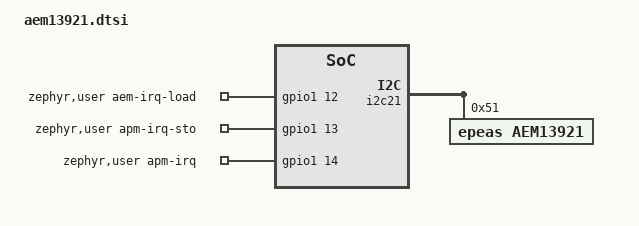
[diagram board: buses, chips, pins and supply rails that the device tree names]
/ {
	zephyr,user{
		aem-irq-load-gpios = <&gpio1 12 (GPIO_PULL_DOWN | GPIO_ACTIVE_HIGH)>;
		apm-irq-sto-gpios  = <&gpio1 13 (GPIO_PULL_DOWN | GPIO_ACTIVE_HIGH)>;
		apm-irq-gpios      = <&gpio1 14 (GPIO_PULL_DOWN | GPIO_ACTIVE_HIGH)>;
	};
};


&i2c21 {
	aem13921: aem13921@51{
		compatible="epeas,aem13921";
		reg = <0x51>;
		status = "okay";
		//zephyr,deferred-init;
	};
};

&gpio1 {
	status = "okay";
};
